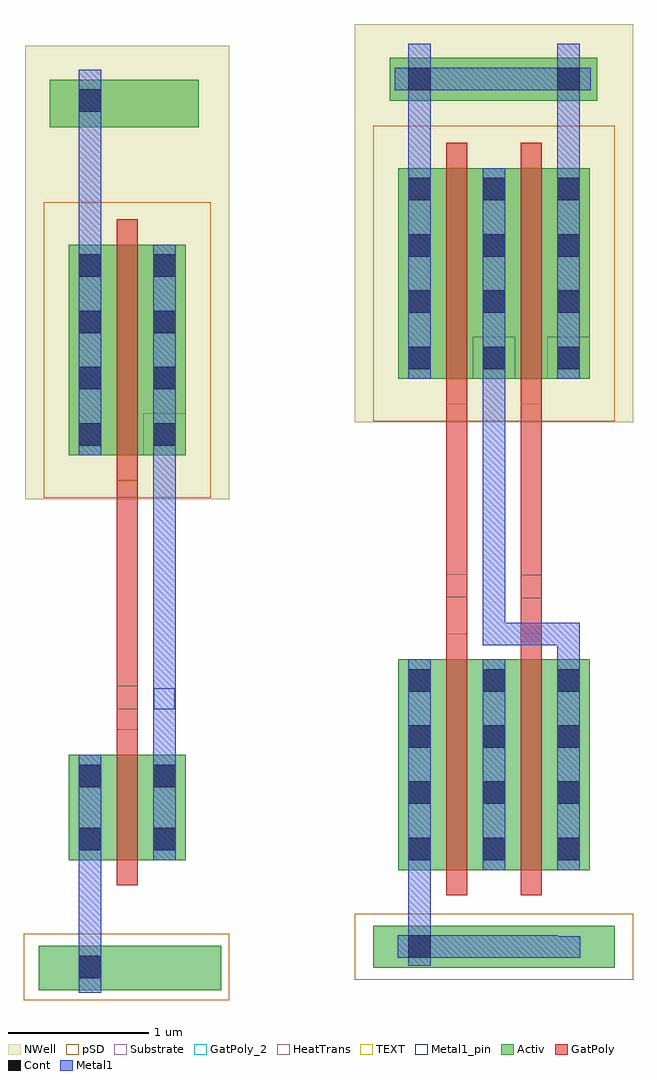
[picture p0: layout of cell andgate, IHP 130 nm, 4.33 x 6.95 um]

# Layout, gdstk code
import gdstk
lib = gdstk.Library(unit=1e-6, precision=5e-09)
def R(c, l, rs):  # rectangles x0, y0, x1, y1
    for r in rs: c.add(gdstk.rectangle(r[:2], r[2:], *l))
def A(c, l, x, y, w, h, nx, ny, dx, dy):  # array of equal rectangles
    R(c, l, [(x+i*dx, y+j*dy, x+i*dx+w, y+j*dy+h) for i in range(nx) for j in range(ny)])
def P(c, l, *ps):  # polygons
    for p in ps: c.add(gdstk.Polygon(p, *l))
Activ = (1, 0)
GatPoly = (5, 0)
GatPoly_2 = (5, 2)
Cont = (6, 0)
Metal1 = (8, 0)
Metal1_pin = (8, 2)
pSD = (14, 0)
NWell = (31, 0)
Substrate = (40, 0)
HeatTrans = (51, 0)
TEXT = (63, 0)

nmos = lib.new_cell('nmos')
R(nmos, Activ, [(0,0,0.3,0.3), (0,0,0.83,0.75), (0.53,0,0.83,0.3)])
R(nmos, GatPoly, [(0.34,-0.18,0.49,0.93)])
R(nmos, GatPoly_2, [(0.34,-0.18,0.49,0.93)])
R(nmos, Cont, [(0.07,0.07,0.23,0.23), (0.6,0.07,0.76,0.23), (0.07,0.52,0.23,0.68), (0.6,0.52,0.76,0.68)])
R(nmos, Metal1, [(0.07,0,0.23,0.75), (0.6,0,0.76,0.75)])
R(nmos, Metal1_pin, [(0.07,0,0.23,0.75), (0.6,0,0.76,0.75)])
R(nmos, HeatTrans, [(0.34,-0.18,0.49,0.93)])
nmos.add(gdstk.Label('nmos', (0.415,0.375), layer=63, texttype=0))
nmos.add(gdstk.Label('nmos', (0.415,0.375), layer=51, texttype=0))

pmos_1 = lib.new_cell('pmos$1')
R(pmos_1, Activ, [(0,0,0.3,0.3), (0,0,0.83,1.5), (0.53,0,0.83,0.3)])
R(pmos_1, GatPoly, [(0.34,-0.18,0.49,1.68), (0.34,-0.18,0.49,1.68)])
A(pmos_1, Cont, 0.07, 0.07, 0.16, 0.16, 1, 4, 0, 0.4)
A(pmos_1, Cont, 0.6, 0.07, 0.16, 0.16, 1, 4, 0, 0.4)
R(pmos_1, Metal1, [(0.07,0,0.23,1.5), (0.07,0,0.23,1.5), (0.6,0,0.76,1.5), (0.6,0,0.76,1.5)])
R(pmos_1, pSD, [(-0.18,-0.3,1.01,1.8)])
R(pmos_1, NWell, [(-0.31,-0.31,1.14,1.81)])
R(pmos_1, Substrate, [(0.53,0,0.83,0.3)])
R(pmos_1, HeatTrans, [(0.34,-0.18,0.49,1.68)])
pmos_1.add(gdstk.Label('pmos', (0.415,0.75), layer=63, texttype=0))
pmos_1.add(gdstk.Label('pmos', (0.415,0.75), layer=51, texttype=0))

inverter = lib.new_cell('inverter')
R(inverter, Activ, [(1.335,-3.155,2.635,-2.84), (1.415,2.985,2.475,3.325)])
R(inverter, GatPoly, [(1.89,-1.3,2.04,0.55)])
R(inverter, GatPoly_2, [(1.89,-1.155,2.04,-0.99)])
R(inverter, Cont, [(1.62,-3.07,1.78,-2.91), (1.62,1.92,1.78,2.08), (1.62,3.095,1.78,3.255)])
R(inverter, Metal1, [(1.62,-3.175,1.78,-2.23), (2.15,-1.48,2.31,0.72), (1.62,2.15,1.78,3.395)])
R(inverter, Metal1_pin, [(1.62,-3.07,1.78,-2.91), (2.155,-1.155,2.305,-1.005), (1.62,3.095,1.78,3.255)])
R(inverter, pSD, [(1.23,-3.225,2.69,-2.755)])
R(inverter, NWell, [(1.24,2.46,2.69,3.565)])
inverter.add(gdstk.Reference(nmos, (1.55,-2.23)))
inverter.add(gdstk.Reference(pmos_1, (1.55,0.65)))
inverter.add(gdstk.Label('out', (2.23,-1.08), layer=8, texttype=2))
inverter.add(gdstk.Label('vdd', (1.685,3.17), layer=8, texttype=2))
inverter.add(gdstk.Label('vss', (1.69,-3.005), layer=8, texttype=2))
inverter.add(gdstk.Label('in', (1.94,-1.07), layer=5, texttype=2))

nmos_1 = lib.new_cell('nmos$1')
R(nmos_1, Activ, [(0,0,0.3,0.3), (0,0,0.83,1.5), (0.53,0,0.83,0.3)])
R(nmos_1, GatPoly, [(0.34,-0.18,0.49,1.68)])
R(nmos_1, GatPoly_2, [(0.34,-0.18,0.49,1.68)])
A(nmos_1, Cont, 0.07, 0.07, 0.16, 0.16, 1, 4, 0, 0.4)
A(nmos_1, Cont, 0.6, 0.07, 0.16, 0.16, 1, 4, 0, 0.4)
R(nmos_1, Metal1, [(0.07,0,0.23,1.5), (0.6,0,0.76,1.5)])
R(nmos_1, Metal1_pin, [(0.07,0,0.23,1.5), (0.6,0,0.76,1.5)])
R(nmos_1, HeatTrans, [(0.34,-0.18,0.49,1.68)])
nmos_1.add(gdstk.Label('nmos', (0.415,0.75), layer=63, texttype=0))
nmos_1.add(gdstk.Label('nmos', (0.415,0.75), layer=51, texttype=0))

pmos = lib.new_cell('pmos')
R(pmos, Activ, [(0,0,0.3,0.3), (0,0,0.83,1.5), (0.53,0,0.83,0.3)])
R(pmos, GatPoly, [(0.34,-0.18,0.49,1.68), (0.34,-0.18,0.49,1.68)])
A(pmos, Cont, 0.07, 0.07, 0.16, 0.16, 1, 4, 0, 0.4)
A(pmos, Cont, 0.6, 0.07, 0.16, 0.16, 1, 4, 0, 0.4)
R(pmos, Metal1, [(0.07,0,0.23,1.5), (0.07,0,0.23,1.5), (0.6,0,0.76,1.5), (0.6,0,0.76,1.5)])
R(pmos, pSD, [(-0.18,-0.3,1.01,1.8)])
R(pmos, NWell, [(-0.31,-0.31,1.14,1.81)])
R(pmos, Substrate, [(0.53,0,0.83,0.3)])
R(pmos, HeatTrans, [(0.34,-0.18,0.49,1.68)])
pmos.add(gdstk.Label('pmos', (0.415,0.75), layer=63, texttype=0))
pmos.add(gdstk.Label('pmos', (0.415,0.75), layer=51, texttype=0))

nand = lib.new_cell('nand')
R(nand, Activ, [(-2.805,-2.995,-1.085,-2.695), (-2.685,3.175,-1.21,3.48)])
R(nand, GatPoly, [(-2.285,-0.62,-2.135,1.06), (-1.755,-0.62,-1.605,1.07)])
R(nand, GatPoly_2, [(-1.755,-0.365,-1.605,-0.2), (-2.285,-0.36,-2.135,-0.195)])
R(nand, Cont, [(-2.555,-2.925,-2.395,-2.765), (-2.555,3.25,-2.395,3.41), (-1.495,3.25,-1.335,3.41)])
R(nand, Metal1, [(-2.555,-2.98,-2.395,-2.765), (-2.63,-2.925,-2.395,-2.765), (-2.555,2.465,-2.395,3.58), (-1.495,2.695,-1.335,3.58), (-2.65,3.25,-1.255,3.41)])
P(nand, Metal1, [(-2.025,1.195),(-2.025,1.195),(-1.865,1.195),(-1.865,1.195)])
R(nand, Metal1_pin, [(-1.495,-1.43,-1.335,-1.27), (-2.555,3.25,-2.395,3.41), (-1.495,3.25,-1.335,3.41)])
R(nand, pSD, [(-2.935,-3.08,-0.955,-2.61)])
R(nand, NWell, [(-2.935,3.005,-0.955,3.72)])
nand.add(gdstk.FlexPath([(-1.945,0.465),(-1.945,-0.62),(-1.415,-0.62),(-1.415,-1.03),(-1.415,-1.16)], 0.16, ends="flush", simple_path=True, layer=8, datatype=0))  # Metal1
nand.add(gdstk.FlexPath([(-1.945,0.465),(-1.945,1.265),(-1.945,1.265)], 0.16, ends="flush", simple_path=True, layer=8, datatype=0))  # Metal1
nand.add(gdstk.FlexPath([(-2.475,-2.07),(-2.475,-2.845),(-1.41,-2.845),(-1.41,-2.77)], 0.16, ends="flush", simple_path=True, layer=8, datatype=0))  # Metal1
nand.add(gdstk.FlexPath([(-2.475,-2.845),(-2.555,-2.845),(-2.555,-2.845)], 0.16, ends="flush", simple_path=True, layer=63, datatype=0))  # TEXT
nand.add(gdstk.Reference(nmos_1, (-2.625,-2.3)))
nand.add(gdstk.Reference(nmos_1, (-2.095,-2.3)))
nand.add(gdstk.Reference(pmos, (-2.625,1.195)))
nand.add(gdstk.Reference(pmos, (-2.095,1.195)))
nand.add(gdstk.Label('vdd', (-2.49,3.325), layer=8, texttype=2))
nand.add(gdstk.Label('out', (-1.415,-1.355), layer=8, texttype=2))
nand.add(gdstk.Label('vss', (-2.485,-2.86), layer=8, texttype=2))
nand.add(gdstk.Label('b', (-1.705,-0.28), layer=5, texttype=2))
nand.add(gdstk.Label('a', (-2.235,-0.275), layer=5, texttype=2))

andgate = lib.new_cell('andgate')
andgate.add(gdstk.Reference(inverter, (0,0)))
andgate.add(gdstk.Reference(nand, (6.52,0)))

lib.write_gds('andgate.gds')
